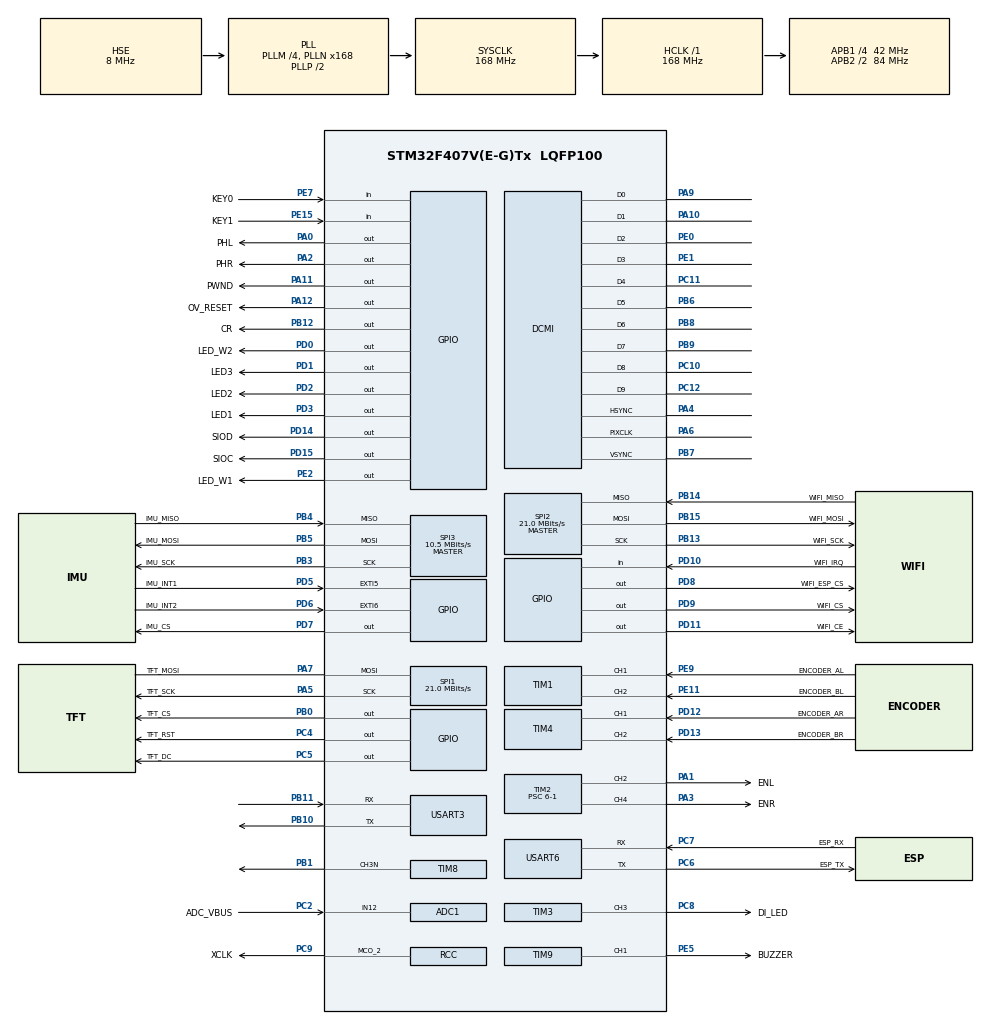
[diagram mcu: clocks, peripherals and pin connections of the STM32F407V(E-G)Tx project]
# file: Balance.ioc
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ADC1.Channel-2\#ChannelRegularConversion=ADC_CHANNEL_12
ADC1.Channel-5\#ChannelRegularConversion=ADC_CHANNEL_TEMPSENSOR
ADC1.DMAContinuousRequests=ENABLE
ADC1.EOCSelection=ADC_EOC_SINGLE_CONV
ADC1.ExternalTrigConv=ADC_EXTERNALTRIGCONV_T8_TRGO
ADC1.InjNumberOfConversion=0
ADC1.NbrOfConversion=2
ADC1.NbrOfConversionFlag=1
ADC1.Rank-2\#ChannelRegularConversion=1
ADC1.Rank-5\#ChannelRegularConversion=2
ADC1.SamplingTime-2\#ChannelRegularConversion=ADC_SAMPLETIME_15CYCLES
ADC1.SamplingTime-5\#ChannelRegularConversion=ADC_SAMPLETIME_480CYCLES
ADC1.master=1
DCMI.HSPolarity=DCMI_HSPOLARITY_HIGH
DCMI.VSPolarity=DCMI_VSPOLARITY_HIGH
Dma.ADC1.3.Direction=DMA_PERIPH_TO_MEMORY
Dma.ADC1.3.FIFOMode=DMA_FIFOMODE_DISABLE
Dma.ADC1.3.Instance=DMA2_Stream0
Dma.ADC1.3.MemDataAlignment=DMA_MDATAALIGN_HALFWORD
Dma.ADC1.3.MemInc=DMA_MINC_ENABLE
Dma.ADC1.3.Mode=DMA_CIRCULAR
Dma.ADC1.3.PeriphDataAlignment=DMA_PDATAALIGN_HALFWORD
Dma.ADC1.3.PeriphInc=DMA_PINC_DISABLE
Dma.ADC1.3.Priority=DMA_PRIORITY_MEDIUM
Dma.DCMI.2.Direction=DMA_PERIPH_TO_MEMORY
Dma.DCMI.2.FIFOMode=DMA_FIFOMODE_DISABLE
Dma.DCMI.2.Instance=DMA2_Stream1
Dma.DCMI.2.MemDataAlignment=DMA_MDATAALIGN_WORD
Dma.DCMI.2.MemInc=DMA_MINC_ENABLE
Dma.DCMI.2.Mode=DMA_CIRCULAR
Dma.DCMI.2.PeriphDataAlignment=DMA_PDATAALIGN_WORD
Dma.DCMI.2.PeriphInc=DMA_PINC_DISABLE
Dma.DCMI.2.Priority=DMA_PRIORITY_HIGH
Dma.Request0=TIM3_CH3
Dma.Request1=SPI1_TX
Dma.Request2=DCMI
Dma.Request3=ADC1
Dma.SPI1_TX.1.Direction=DMA_MEMORY_TO_PERIPH
Dma.SPI1_TX.1.FIFOMode=DMA_FIFOMODE_DISABLE
Dma.SPI1_TX.1.Instance=DMA2_Stream3
Dma.SPI1_TX.1.MemDataAlignment=DMA_MDATAALIGN_BYTE
Dma.SPI1_TX.1.MemInc=DMA_MINC_ENABLE
Dma.SPI1_TX.1.Mode=DMA_NORMAL
Dma.SPI1_TX.1.PeriphDataAlignment=DMA_PDATAALIGN_BYTE
Dma.SPI1_TX.1.PeriphInc=DMA_PINC_DISABLE
Dma.SPI1_TX.1.Priority=DMA_PRIORITY_MEDIUM
Dma.TIM3_CH3.0.Direction=DMA_MEMORY_TO_PERIPH
Dma.TIM3_CH3.0.FIFOMode=DMA_FIFOMODE_DISABLE
Dma.TIM3_CH3.0.Instance=DMA1_Stream7
Dma.TIM3_CH3.0.MemDataAlignment=DMA_MDATAALIGN_HALFWORD
Dma.TIM3_CH3.0.MemInc=DMA_MINC_ENABLE
Dma.TIM3_CH3.0.Mode=DMA_NORMAL
Dma.TIM3_CH3.0.PeriphDataAlignment=DMA_PDATAALIGN_HALFWORD
Dma.TIM3_CH3.0.PeriphInc=DMA_PINC_DISABLE
Dma.TIM3_CH3.0.Priority=DMA_PRIORITY_LOW
Mcu.Family=STM32F4
Mcu.Name=STM32F407V(E-G)Tx
Mcu.Package=LQFP100
NVIC.DCMI_IRQn=true\:4\:0\:true\:false\:true\:true\:true\:true
NVIC.DMA1_Stream7_IRQn=true\:5\:0\:true\:false\:true\:false\:true\:true
NVIC.DMA2_Stream0_IRQn=true\:3\:0\:true\:false\:true\:false\:true\:true
NVIC.DMA2_Stream1_IRQn=true\:2\:0\:true\:false\:true\:false\:true\:true
NVIC.DMA2_Stream3_IRQn=true\:4\:0\:true\:false\:true\:false\:true\:true
NVIC.EXTI9_5_IRQn=true\:5\:0\:true\:false\:true\:true\:true\:true
NVIC.PriorityGroup=NVIC_PRIORITYGROUP_4
NVIC.SPI1_IRQn=true\:8\:0\:true\:false\:true\:true\:true\:true
NVIC.TIM5_IRQn=true\:3\:0\:true\:false\:true\:true\:true\:true
NVIC.TIM6_DAC_IRQn=true\:2\:0\:true\:false\:true\:true\:true\:true
NVIC.TIM7_IRQn=true\:1\:0\:true\:false\:true\:true\:true\:true
PA0-WKUP.GPIO_Label=PHL
PA0-WKUP.Signal=GPIO_Output
PA1.GPIO_Label=ENL
PA1.Signal=S_TIM2_CH2
PA10.Mode=Slave_10_bits_External_Synchro
PA10.Signal=DCMI_D1
PA11.GPIO_Label=PWND
PA11.Signal=GPIO_Output
PA12.GPIO_Label=OV_RESET
PA12.Signal=GPIO_Output
PA13.Mode=Serial_Wire
PA13.Signal=SYS_JTMS-SWDIO
PA14.Mode=Serial_Wire
PA14.Signal=SYS_JTCK-SWCLK
PA2.GPIO_Label=PHR
PA2.Signal=GPIO_Output
PA3.GPIO_Label=ENR
PA3.Signal=S_TIM2_CH4
PA4.Mode=Slave_10_bits_External_Synchro
PA4.Signal=DCMI_HSYNC
PA5.GPIO_Label=TFT_SCK
PA5.Mode=Simplex_Bidirectional_Master
PA5.Signal=SPI1_SCK
PA6.Mode=Slave_10_bits_External_Synchro
PA6.Signal=DCMI_PIXCLK
PA7.GPIO_Label=TFT_MOSI
PA7.Mode=Simplex_Bidirectional_Master
PA7.Signal=SPI1_MOSI
PA9.Mode=Slave_10_bits_External_Synchro
PA9.Signal=DCMI_D0
PB0.GPIO_Label=TFT_CS
PB0.GPIO_Speed=GPIO_SPEED_FREQ_HIGH
PB0.PinState=GPIO_PIN_SET
PB0.Signal=GPIO_Output
PB1.Mode=PWM Generation3 CH3N
PB1.Signal=TIM8_CH3N
PB10.Mode=Asynchronous
PB10.Signal=USART3_TX
PB11.Mode=Asynchronous
PB11.Signal=USART3_RX
PB12.GPIO_Label=CR
PB12.Signal=GPIO_Output
PB13.GPIO_Label=WIFI_SCK
PB13.Mode=Full_Duplex_Master
PB13.Signal=SPI2_SCK
PB14.GPIO_Label=WIFI_MISO
PB14.Mode=Full_Duplex_Master
PB14.Signal=SPI2_MISO
PB15.GPIO_Label=WIFI_MOSI
PB15.Mode=Full_Duplex_Master
PB15.Signal=SPI2_MOSI
PB3.GPIO_Label=IMU_SCK
PB3.Mode=Full_Duplex_Master
PB3.Signal=SPI3_SCK
PB4.GPIO_Label=IMU_MISO
PB4.Mode=Full_Duplex_Master
PB4.Signal=SPI3_MISO
PB5.GPIO_Label=IMU_MOSI
PB5.Mode=Full_Duplex_Master
PB5.Signal=SPI3_MOSI
PB6.Mode=Slave_10_bits_External_Synchro
PB6.Signal=DCMI_D5
PB7.Mode=Slave_10_bits_External_Synchro
PB7.Signal=DCMI_VSYNC
PB8.Mode=Slave_10_bits_External_Synchro
PB8.Signal=DCMI_D6
PB9.Mode=Slave_10_bits_External_Synchro
PB9.Signal=DCMI_D7
PC10.Mode=Slave_10_bits_External_Synchro
PC10.Signal=DCMI_D8
PC11.Mode=Slave_10_bits_External_Synchro
PC11.Signal=DCMI_D4
PC12.Mode=Slave_10_bits_External_Synchro
PC12.Signal=DCMI_D9
PC2.GPIO_Label=ADC_VBUS
PC2.Signal=ADCx_IN12
PC4.GPIO_Label=TFT_RST
PC4.Signal=GPIO_Output
PC5.GPIO_Label=TFT_DC
PC5.Signal=GPIO_Output
PC6.GPIO_Label=ESP_TX
PC6.Mode=Asynchronous
PC6.Signal=USART6_TX
PC7.GPIO_Label=ESP_RX
PC7.Mode=Asynchronous
PC7.Signal=USART6_RX
PC8.GPIO_Label=DI_LED
PC8.GPIO_Speed=GPIO_SPEED_FREQ_HIGH
PC8.Signal=S_TIM3_CH3
PC9.GPIO_Label=XCLK
PC9.GPIO_Speed=GPIO_SPEED_FREQ_VERY_HIGH
PC9.Mode=Clock-out-2
PC9.Signal=RCC_MCO_2
PD0.GPIO_Label=LED_W2
PD0.Signal=GPIO_Output
PD1.GPIO_Label=LED3
PD1.PinState=GPIO_PIN_SET
PD1.Signal=GPIO_Output
PD10.GPIO_Label=WIFI_IRQ
PD10.Signal=GPIO_Input
PD11.GPIO_Label=WIFI_CE
PD11.Signal=GPIO_Output
PD12.GPIO_Label=ENCODER_AR
PD12.Signal=S_TIM4_CH1
PD13.GPIO_Label=ENCODER_BR
PD13.Signal=S_TIM4_CH2
PD14.GPIO_Label=SIOD
PD14.GPIO_ModeDefaultOutputPP=GPIO_MODE_OUTPUT_OD
PD14.GPIO_PuPd=GPIO_PULLUP
PD14.GPIO_Speed=GPIO_SPEED_FREQ_MEDIUM
PD14.Signal=GPIO_Output
PD15.GPIO_Label=SIOC
PD15.GPIO_ModeDefaultOutputPP=GPIO_MODE_OUTPUT_OD
PD15.GPIO_PuPd=GPIO_PULLUP
PD15.GPIO_Speed=GPIO_SPEED_FREQ_MEDIUM
PD15.Signal=GPIO_Output
PD2.GPIO_Label=LED2
PD2.PinState=GPIO_PIN_SET
PD2.Signal=GPIO_Output
PD3.GPIO_Label=LED1
PD3.PinState=GPIO_PIN_SET
PD3.Signal=GPIO_Output
PD5.GPIO_Label=IMU_INT1
PD5.Signal=GPXTI5
PD6.GPIO_Label=IMU_INT2
PD6.Signal=GPXTI6
PD7.GPIO_Label=IMU_CS
PD7.GPIO_Speed=GPIO_SPEED_FREQ_HIGH
PD7.PinState=GPIO_PIN_SET
PD7.Signal=GPIO_Output
PD8.GPIO_Label=WIFI_ESP_CS
PD8.GPIO_Speed=GPIO_SPEED_FREQ_HIGH
PD8.PinState=GPIO_PIN_SET
PD8.Signal=GPIO_Output
PD9.GPIO_Label=WIFI_CS
PD9.GPIO_Speed=GPIO_SPEED_FREQ_HIGH
PD9.PinState=GPIO_PIN_SET
PD9.Signal=GPIO_Output
PE0.Mode=Slave_10_bits_External_Synchro
PE0.Signal=DCMI_D2
PE1.Mode=Slave_10_bits_External_Synchro
PE1.Signal=DCMI_D3
PE11.GPIO_Label=ENCODER_BL
PE11.Signal=S_TIM1_CH2
PE15.GPIO_Label=KEY1
PE15.Signal=GPIO_Input
PE2.GPIO_Label=LED_W1
PE2.Signal=GPIO_Output
PE5.GPIO_Label=BUZZER
PE5.Signal=S_TIM9_CH1
PE7.GPIO_Label=KEY0
PE7.Signal=GPIO_Input
PE9.GPIO_Label=ENCODER_AL
PE9.Signal=S_TIM1_CH1
PH0-OSC_IN.Mode=HSE-External-Oscillator
PH0-OSC_IN.Signal=RCC_OSC_IN
PH1-OSC_OUT.Mode=HSE-External-Oscillator
PH1-OSC_OUT.Signal=RCC_OSC_OUT
ProjectManager.HeapSize=0x200
ProjectManager.StackSize=0x400
ProjectManager.TargetToolchain=CMake
RCC.48MHZClocksFreq_Value=84000000
RCC.AHBFreq_Value=168000000
RCC.APB1CLKDivider=RCC_HCLK_DIV4
RCC.APB1Freq_Value=42000000
RCC.APB1TimFreq_Value=84000000
RCC.APB2CLKDivider=RCC_HCLK_DIV2
RCC.APB2Freq_Value=84000000
RCC.APB2TimFreq_Value=168000000
RCC.CortexFreq_Value=168000000
RCC.HCLKFreq_Value=168000000
RCC.HSE_VALUE=8000000
RCC.HSI_VALUE=16000000
RCC.LSE_VALUE=32768
RCC.PLLI2SN=120
RCC.PLLM=4
RCC.PLLN=168
RCC.PLLSourceVirtual=RCC_PLLSOURCE_HSE
RCC.RCC_MCO1Source=RCC_MCO1SOURCE_PLLCLK
RCC.RCC_MCO2Source=RCC_MCO2SOURCE_PLLI2SCLK
RCC.RCC_MCODiv1=RCC_MCODIV_5
RCC.RCC_MCODiv2=RCC_MCODIV_5
RCC.SYSCLKFreq_VALUE=168000000
RCC.SYSCLKSource=RCC_SYSCLKSOURCE_PLLCLK
RCC.VCOOutputFreq_Value=336000000
SH.ADCx_IN12.0=ADC1_IN12,IN12
SH.S_TIM1_CH1.0=TIM1_CH1,Encoder_Interface
SH.S_TIM1_CH2.0=TIM1_CH2,Encoder_Interface
SH.S_TIM2_CH2.0=TIM2_CH2,PWM Generation2 CH2
SH.S_TIM2_CH4.0=TIM2_CH4,PWM Generation4 CH4
SH.S_TIM3_CH3.0=TIM3_CH3,PWM Generation3 CH3
SH.S_TIM4_CH1.0=TIM4_CH1,Encoder_Interface
SH.S_TIM4_CH2.0=TIM4_CH2,Encoder_Interface
SH.S_TIM9_CH1.0=TIM9_CH1,PWM Generation1 CH1
SPI1.BaudRatePrescaler=SPI_BAUDRATEPRESCALER_4
SPI1.CLKPhase=SPI_PHASE_1EDGE
SPI1.CLKPolarity=SPI_POLARITY_LOW
SPI1.CalculateBaudRate=21.0 MBits/s
SPI1.Direction=SPI_DIRECTION_1LINE
SPI1.Mode=SPI_MODE_MASTER
SPI1.VirtualType=VM_MASTER
SPI2.BaudRatePrescaler=SPI_BAUDRATEPRESCALER_2
SPI2.CalculateBaudRate=21.0 MBits/s
SPI2.Direction=SPI_DIRECTION_2LINES
SPI2.Mode=SPI_MODE_MASTER
SPI2.VirtualType=VM_MASTER
SPI3.BaudRatePrescaler=SPI_BAUDRATEPRESCALER_4
SPI3.CLKPhase=SPI_PHASE_2EDGE
SPI3.CLKPolarity=SPI_POLARITY_HIGH
SPI3.CalculateBaudRate=10.5 MBits/s
SPI3.Direction=SPI_DIRECTION_2LINES
SPI3.Mode=SPI_MODE_MASTER
SPI3.VirtualType=VM_MASTER
TIM1.EncoderMode=TIM_ENCODERMODE_TI12
TIM1.IC1Filter=0
TIM1.IC2Filter=0
TIM2.AutoReloadPreload=TIM_AUTORELOAD_PRELOAD_ENABLE
TIM2.Channel-PWM\ Generation2\ CH2=TIM_CHANNEL_2
TIM2.Channel-PWM\ Generation4\ CH4=TIM_CHANNEL_4
TIM2.Period=1000-1
TIM2.Prescaler=6-1
TIM3.AutoReloadPreload=TIM_AUTORELOAD_PRELOAD_ENABLE
TIM3.Channel-PWM\ Generation3\ CH3=TIM_CHANNEL_3
TIM3.Period=105-1
TIM4.AutoReloadPreload=TIM_AUTORELOAD_PRELOAD_DISABLE
TIM4.EncoderMode=TIM_ENCODERMODE_TI12
TIM4.IC1Filter=0
TIM4.IC2Filter=3
TIM5.AutoReloadPreload=TIM_AUTORELOAD_PRELOAD_ENABLE
TIM5.CounterMode=TIM_COUNTERMODE_CENTERALIGNED1
TIM5.Period=100
TIM5.Prescaler=840-1
TIM5.TIM_MasterOutputTrigger=TIM_TRGO_RESET
TIM6.AutoReloadPreload=TIM_AUTORELOAD_PRELOAD_ENABLE
TIM6.Period=200-1
TIM6.Prescaler=840-1
TIM7.AutoReloadPreload=TIM_AUTORELOAD_PRELOAD_ENABLE
TIM7.Period=100-1
TIM7.Prescaler=840-1
TIM8.AutoReloadPreload=TIM_AUTORELOAD_PRELOAD_ENABLE
TIM8.Channel-PWM\ Generation3\ CH3N=TIM_CHANNEL_3
TIM8.OCNPolarity_3=TIM_OCNPOLARITY_LOW
TIM8.Period=100-1
TIM8.Prescaler=420-1
TIM8.TIM_MasterOutputTrigger=TIM_TRGO_UPDATE
TIM9.AutoReloadPreload=TIM_AUTORELOAD_PRELOAD_ENABLE
TIM9.Channel-PWM\ Generation1\ CH1=TIM_CHANNEL_1
TIM9.Period=1000
TIM9.Prescaler=168-1
USART3.VirtualMode=VM_ASYNC
USART6.VirtualMode=VM_ASYNC
VP_ADC1_TempSens_Input.Mode=IN-TempSens
VP_TIM2_VS_ClockSourceINT.Mode=Internal
VP_TIM3_VS_ClockSourceINT.Mode=Internal
VP_TIM5_VS_ClockSourceINT.Mode=Internal
VP_TIM6_VS_ClockSourceINT.Mode=Enable_Timer
VP_TIM7_VS_ClockSourceINT.Mode=Enable_Timer
VP_TIM8_VS_ClockSourceINT.Mode=Internal
VP_TIM9_VS_ClockSourceINT.Mode=Internal
board=custom

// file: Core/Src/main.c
/* USER CODE BEGIN Header */
/**
  ******************************************************************************
  * @file           : main.c
  * @brief          : Main program body
  ******************************************************************************
  * @attention
  *
  * Copyright (c) 2026 STMicroelectronics.
  * All rights reserved.
  *
  * This software is licensed under terms that can be found in the LICENSE file
  * in the root directory of this software component.
  * If no LICENSE file comes with this software, it is provided AS-IS.
  *
  ******************************************************************************
  */
/* USER CODE END Header */
#include "main.h"
#include "adc.h"
#include "dcmi.h"
#include "dma.h"
#include "spi.h"
#include "tim.h"
#include "usart.h"
#include "gpio.h"

/* USER CODE BEGIN Includes */
#include "KK_UI_App.h"
#include "LED.h"
#include "TFT_Display.h"
#include "imu.h"
#include "Attitude.h"
#include "UIAttitude.h"
#include "encoder.h"
#include "event.h"
#include "key.h"
#include "motor.h"
#include "uart.h"
#include "Analog.h"
#include "Buzzer.h"
#include "Control.h"
#include "Rtt.h"

/* USER CODE END Includes */

void SystemClock_Config(void);
void PeriphCommonClock_Config(void);

int main(void)
{

  /* MCU Configuration--------------------------------------------------------*/

  /* Reset of all peripherals, Initializes the Flash interface and the Systick. */
  HAL_Init();

  /* Configure the system clock */
  SystemClock_Config();

  /* Configure the peripherals common clocks */
  PeriphCommonClock_Config();

  /* Initialize all configured peripherals */
  MX_GPIO_Init();
  MX_DMA_Init();
  MX_SPI1_Init();
  MX_SPI2_Init();
  MX_SPI3_Init();
  MX_DCMI_Init();
  MX_TIM1_Init();
  MX_TIM2_Init();
  MX_TIM4_Init();
  MX_USART3_UART_Init();
  MX_ADC1_Init();
  MX_TIM3_Init();
  MX_TIM9_Init();
  MX_USART6_UART_Init();
  MX_TIM6_Init();
  MX_TIM5_Init();
  MX_TIM8_Init();
  MX_TIM7_Init();
  /* USER CODE BEGIN 2 */

  HAL_GPIO_WritePin(CR_GPIO_Port, CR_Pin, GPIO_PIN_SET);
  TFT_DisplayInit();
  event_init();
  Analog_Init();
  encoder_init();
  motor_init();
  buzzer_init();
  DI_ALL_LED(0, 10, 10);

  imu_init();
  Attitude_Init();  /* 零偏标定，必须在 imu_init() 之后 */
  buzzer_startup_tone();  /* 上电自检音：放标定之后，避免振动干扰零偏 */
  UIAttitude_Init();/* 界面姿态：只启用 DWT 周期计数，标定在进入姿态页时做 */
  Control_Init();  /* PID/LQR 控制器：只清零，参数在进入控制页时加载 */
  Rtt_Init();      /* SEGGER RTT 遥测：ch0 文本、ch1 float 波形 */

  /* USER CODE END 2 */

  /* Infinite loop */
  /* USER CODE BEGIN WHILE */
  while (1)
  {
    //TFT屏幕
    if (TFT_DisplaySync())
    {
      KK_UI_AppUpdate();
    }

    //IMU：中断只置标志，读在这里
    imu_service();

    //RTT 遥测：内部限频，没到点立即返回
    Rtt_Telemetry();

    /* USER CODE END WHILE */

  }
}

void SystemClock_Config(void)
{
  RCC_OscInitTypeDef RCC_OscInitStruct = {0};
  RCC_ClkInitTypeDef RCC_ClkInitStruct = {0};

  /** Configure the main internal regulator output voltage
  */
  __HAL_RCC_PWR_CLK_ENABLE();
  __HAL_PWR_VOLTAGESCALING_CONFIG(PWR_REGULATOR_VOLTAGE_SCALE1);

  /** Initializes the RCC Oscillators according to the specified parameters
  * in the RCC_OscInitTypeDef structure.
  */
  RCC_OscInitStruct.OscillatorType = RCC_OSCILLATORTYPE_HSE;
  RCC_OscInitStruct.HSEState = RCC_HSE_ON;
  RCC_OscInitStruct.PLL.PLLState = RCC_PLL_ON;
  RCC_OscInitStruct.PLL.PLLSource = RCC_PLLSOURCE_HSE;
  RCC_OscInitStruct.PLL.PLLM = 4;
  RCC_OscInitStruct.PLL.PLLN = 168;
  RCC_OscInitStruct.PLL.PLLP = RCC_PLLP_DIV2;
  RCC_OscInitStruct.PLL.PLLQ = 4;
  if (HAL_RCC_OscConfig(&RCC_OscInitStruct) != HAL_OK)
  {
    Error_Handler();
  }

  /** Initializes the CPU, AHB and APB buses clocks
  */
  RCC_ClkInitStruct.ClockType = RCC_CLOCKTYPE_HCLK|RCC_CLOCKTYPE_SYSCLK
                              |RCC_CLOCKTYPE_PCLK1|RCC_CLOCKTYPE_PCLK2;
  RCC_ClkInitStruct.SYSCLKSource = RCC_SYSCLKSOURCE_PLLCLK;
  RCC_ClkInitStruct.AHBCLKDivider = RCC_SYSCLK_DIV1;
  RCC_ClkInitStruct.APB1CLKDivider = RCC_HCLK_DIV4;
  RCC_ClkInitStruct.APB2CLKDivider = RCC_HCLK_DIV2;

  if (HAL_RCC_ClockConfig(&RCC_ClkInitStruct, FLASH_LATENCY_5) != HAL_OK)
  {
    Error_Handler();
  }
  HAL_RCC_MCOConfig(RCC_MCO2, RCC_MCO2SOURCE_PLLI2SCLK, RCC_MCODIV_5);
}

void PeriphCommonClock_Config(void)
{
  RCC_PeriphCLKInitTypeDef PeriphClkInitStruct = {0};

  /** Initializes the peripherals clock
  */
  PeriphClkInitStruct.PeriphClockSelection = RCC_PERIPHCLK_PLLI2S;
  PeriphClkInitStruct.PLLI2S.PLLI2SN = 120;
  PeriphClkInitStruct.PLLI2S.PLLI2SR = 2;
  if (HAL_RCCEx_PeriphCLKConfig(&PeriphClkInitStruct) != HAL_OK)
  {
    Error_Handler();
  }
}

void Error_Handler(void)
{
  __disable_irq();
  while (1)
  {
  }
}
